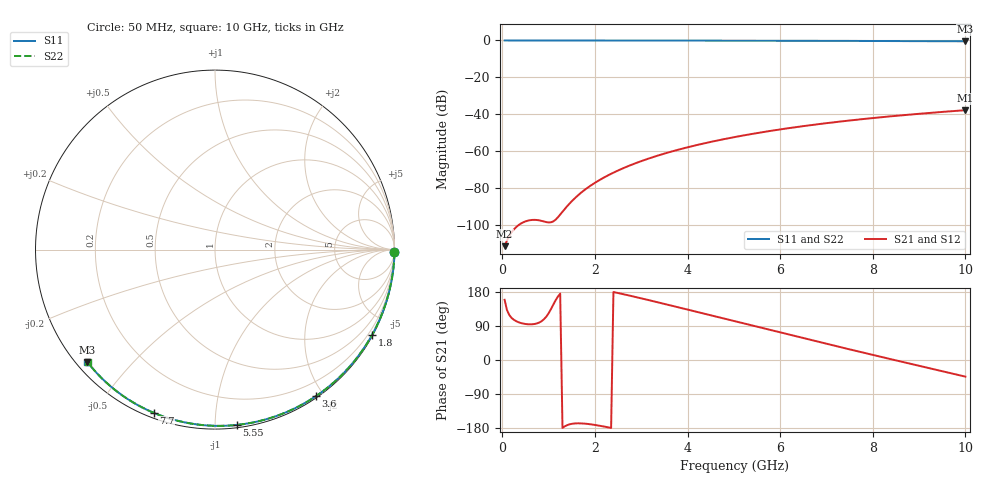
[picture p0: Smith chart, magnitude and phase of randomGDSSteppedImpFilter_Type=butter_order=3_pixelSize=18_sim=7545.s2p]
! freq	dB(S11)	phase(S11)	dB(S12)	phase(S12)
!  dB(S21)	phase(S21)	dB(S22)	phase(S22)
!S-par simulation data
#  GHz  S  DB  R 50
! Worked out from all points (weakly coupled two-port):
!   200 points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, 50 MHz to 10 GHz, reference 50 ohm
!   highest |S21| = -37.82 dB at 10 GHz (marker M1); lowest = -111.6 dB at 50 MHz (marker M2)
!   lowest |S11| = -0.5 dB at 10 GHz (marker M3), VSWR 37.00, Z = 1.54 - j18.8 ohm
!   |S11| at or under -10 dB: nowhere
!   |S22| runs from -0.5 to 0.0 dB; largest |S21 - S12| = 0
!   S11 on the Smith chart (normalised r, x): 50 MHz: open; 1.8 GHz: 0.03, -3.94; 3.6 GHz: 0.02, -1.90; 5.55 GHz: 0.02, -1.13; 7.7 GHz: 0.02, -0.69; 10 GHz: 0.03, -0.38
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0.05  -0.00 -0.8  -111.56 158.8  -111.56 158.8  -0.00 -0.8
0.45  -0.01 -7.2  -98.65 96.1  -98.65 96.1  -0.01 -7.2
0.9  -0.02 -14.4  -98.17 107.5  -98.17 107.5  -0.02 -14.4
1.75  -0.04 -27.7  -81.59 -167.6  -81.59 -167.6  -0.04 -27.6
1.8  -0.04 -28.5  -80.63 -168.1  -80.63 -168.1  -0.04 -28.4
1.85  -0.04 -29.2  -79.72 -168.8  -79.72 -168.8  -0.04 -29.2
2  -0.04 -31.5  -77.20 -171.3  -77.20 -171.3  -0.04 -31.5
2.15  -0.04 -33.9  -74.96 -174.5  -74.96 -174.5  -0.04 -33.8
2.35  -0.05 -36.9  -72.30 -179.3  -72.30 -179.3  -0.05 -36.9
2.55  -0.05 -40.0  -69.94 175.4  -69.94 175.4  -0.05 -39.9
2.95  -0.06 -46.0  -65.90 164.2  -65.90 164.2  -0.06 -45.9
3.4  -0.07 -52.6  -62.11 151.0  -62.11 151.0  -0.07 -52.6
3.6  -0.07 -55.6  -60.63 145.1  -60.63 145.1  -0.07 -55.5
4.3  -0.09 -65.6  -56.14 124.0  -56.14 124.0  -0.09 -65.6
5.05  -0.12 -76.1  -52.24 101.3  -52.24 101.3  -0.12 -76.0
5.55  -0.14 -82.9  -50.02 86.2  -50.02 86.2  -0.14 -82.8
6.1  -0.16 -90.2  -47.87 69.6  -47.87 69.6  -0.16 -90.1
6.7  -0.19 -98.0  -45.80 51.7  -45.80 51.7  -0.19 -97.9
7.7  -0.25 -110.7  -42.86 22.2  -42.86 22.2  -0.25 -110.5
8.35  -0.30 -118.7  -41.23 3.3  -41.23 3.3  -0.30 -118.6
9.2  -0.38 -129.0  -39.36 -21.1  -39.36 -21.1  -0.38 -128.9
10  -0.47 -138.7  -37.82 -43.9  -37.82 -43.9  -0.47 -138.5
